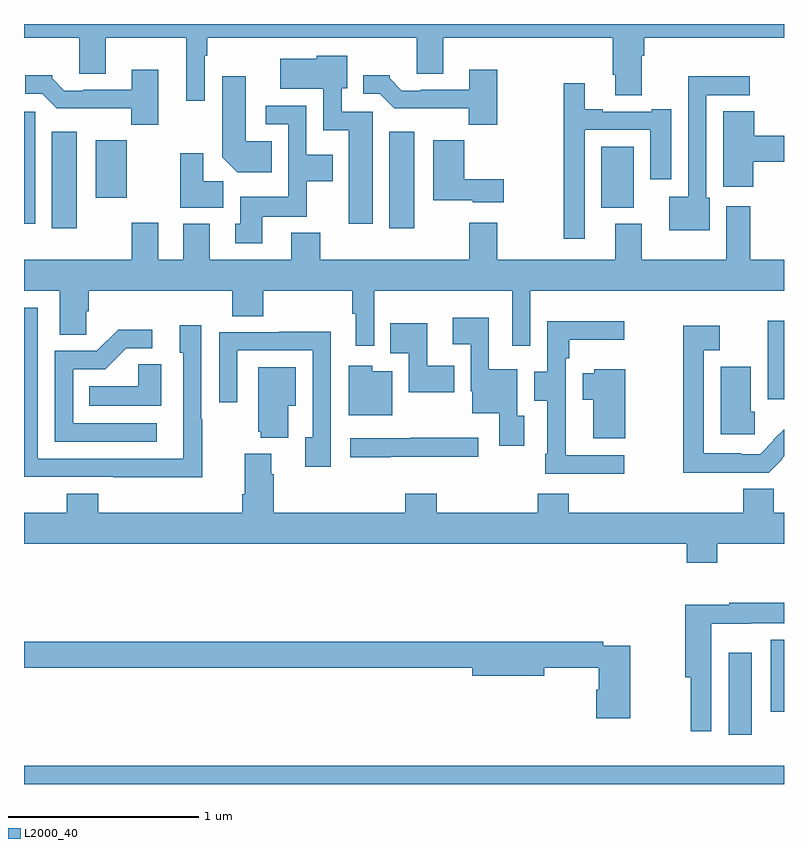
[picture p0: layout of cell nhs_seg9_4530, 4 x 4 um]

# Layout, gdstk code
import gdstk
lib = gdstk.Library(unit=1e-6, precision=1e-09)
def R(c, l, rs):  # rectangles x0, y0, x1, y1
    for r in rs: c.add(gdstk.rectangle(r[:2], r[2:], *l))
def P(c, l, *ps):  # polygons
    for p in ps: c.add(gdstk.Polygon(p, *l))
L2000_40 = (2000, 40)

nhs_seg9_4530 = lib.new_cell('nhs_seg9_4530')
R(nhs_seg9_4530, L2000_40, [(371,1184.5,375,1184.596), (374.708,1184.76,374.83,1185.19), (374.93,1184.88,375,1185.26), (374.915,1186.524,375,1186.939), (371.147,1187.424,371.278,1187.932), (372.923,1187.424,373.054,1187.932), (371,1187.448,371.059,1188.039), (374.039,1187.534,374.209,1187.854)])
P(nhs_seg9_4530, L2000_40, [(371.952,1188.332),(371.965,1188.332),(371.965,1188.428),(373.067,1188.428),(373.067,1188.238),(373.207,1188.238),(373.207,1188.428),(374.099,1188.428),(374.099,1188.232),(374.111,1188.232),(374.111,1188.124),(374.251,1188.124),(374.251,1188.332),(374.264,1188.332),(374.264,1188.428),(375,1188.428),(375,1188.5),(371,1188.5),(371,1188.428),(371.291,1188.428),(371.291,1188.238),(371.431,1188.238),(371.431,1188.428),(371.855,1188.428),(371.855,1188.096),(371.952,1188.096)],
  [(372.835,1188.039),(372.672,1188.039),(372.672,1188.162),(372.7,1188.162),(372.7,1188.334),(372.54,1188.334),(372.54,1188.316),(372.348,1188.316),(372.348,1188.158),(372.576,1188.158),(372.576,1187.942),(372.71,1187.942),(372.71,1187.448),(372.835,1187.448)],
  [(371.707,1188.259),(371.567,1188.259),(371.567,1188.153),(371.311,1188.153),(371.311,1188.15),(371.212,1188.15),(371.148,1188.214),(371.148,1188.229),(371.006,1188.229),(371.006,1188.132),(371.097,1188.132),(371.173,1188.056),(371.565,1188.056),(371.565,1187.969),(371.707,1187.969)],
  [(373.491,1188.259),(373.343,1188.259),(373.343,1188.153),(373.087,1188.153),(373.087,1188.15),(372.988,1188.15),(372.924,1188.214),(372.924,1188.229),(372.785,1188.229),(372.785,1188.132),(372.873,1188.132),(372.949,1188.056),(373.341,1188.056),(373.341,1187.969),(373.491,1187.969)],
  [(372.305,1187.884),(372.166,1187.884),(372.166,1188.226),(372.044,1188.226),(372.044,1187.798),(372.122,1187.72),(372.305,1187.72)],
  [(374.608,1187.586),(374.592,1187.586),(374.592,1188.126),(374.821,1188.126),(374.821,1188.224),(374.496,1188.224),(374.496,1187.59),(374.396,1187.59),(374.396,1187.414),(374.608,1187.414)],
  [(373.95,1187.943),(374.297,1187.943),(374.297,1187.682),(374.407,1187.682),(374.407,1188.052),(374.303,1188.052),(374.303,1188.039),(374.047,1188.039),(374.047,1188.052),(373.951,1188.052),(373.951,1188.187),(373.842,1188.187),(373.842,1187.37),(373.95,1187.37)],
  [(372.253,1187.486),(372.489,1187.486),(372.489,1187.672),(372.625,1187.672),(372.625,1187.812),(372.486,1187.812),(372.486,1188.069),(372.273,1188.069),(372.273,1187.973),(372.39,1187.973),(372.39,1187.59),(372.137,1187.59),(372.137,1187.448),(372.113,1187.448),(372.113,1187.346),(372.253,1187.346)],
  [(374.838,1187.776),(375,1187.776),(375,1187.912),(374.843,1187.912),(374.843,1188.041),(374.681,1188.041),(374.681,1187.643),(374.838,1187.643)],
  [(373.525,1187.683),(373.316,1187.683),(373.316,1187.887),(373.154,1187.887),(373.154,1187.573),(373.362,1187.573),(373.362,1187.561),(373.525,1187.561)],
  [(371.542,1187.739),(371.54,1187.739),(371.54,1187.887),(371.378,1187.887),(371.378,1187.586),(371.542,1187.586)],
  [(372.049,1187.672),(371.944,1187.672),(371.944,1187.821),(371.822,1187.821),(371.822,1187.534),(372.049,1187.534)],
  [(372.843,1187.096),(373.569,1187.096),(373.569,1186.806),(373.665,1186.806),(373.665,1187.096),(375,1187.096),(375,1187.26),(374.822,1187.26),(374.822,1187.542),(374.696,1187.542),(374.696,1187.26),(374.251,1187.26),(374.251,1187.449),(374.111,1187.449),(374.111,1187.26),(373.491,1187.26),(373.491,1187.455),(373.343,1187.455),(373.343,1187.26),(372.56,1187.26),(372.56,1187.401),(372.407,1187.401),(372.407,1187.26),(371.977,1187.26),(371.977,1187.449),(371.837,1187.449),(371.837,1187.26),(371.707,1187.26),(371.707,1187.455),(371.567,1187.455),(371.567,1187.26),(371,1187.26),(371,1187.096),(371.189,1187.096),(371.189,1186.864),(371.328,1186.864),(371.328,1186.987),(371.342,1186.987),(371.342,1187.096),(372.095,1187.096),(372.095,1186.963),(372.26,1186.963),(372.26,1187.096),(372.727,1187.096),(372.727,1186.975),(372.746,1186.975),(372.746,1186.806),(372.843,1186.806)],
  [(371.937,1186.421),(371.934,1186.421),(371.934,1186.915),(371.819,1186.915),(371.819,1186.77),(371.838,1186.77),(371.838,1186.212),(371.073,1186.212),(371.073,1187.007),(371,1187.007),(371,1186.116),(371.473,1186.116),(371.473,1186.115),(371.937,1186.115)],
  [(373.633,1186.437),(373.597,1186.437),(373.597,1186.684),(373.446,1186.684),(373.446,1186.954),(373.257,1186.954),(373.257,1186.814),(373.35,1186.814),(373.35,1186.566),(373.358,1186.566),(373.358,1186.451),(373.5,1186.451),(373.5,1186.281),(373.633,1186.281)],
  [(374.158,1186.23),(373.852,1186.23),(373.852,1186.427),(373.851,1186.427),(373.851,1186.742),(373.871,1186.742),(373.871,1186.838),(374.158,1186.838),(374.158,1186.936),(373.755,1186.936),(373.755,1186.671),(373.685,1186.671),(373.685,1186.516),(373.755,1186.516),(373.755,1186.237),(373.743,1186.237),(373.743,1186.134),(374.158,1186.134)],
  [(373.265,1186.702),(373.123,1186.702),(373.123,1186.924),(372.928,1186.924),(372.928,1186.766),(373.026,1186.766),(373.026,1186.562),(373.265,1186.562)],
  [(374.991,1186.209),(374.987,1186.213),(375,1186.226),(375,1186.368),(374.943,1186.311),(374.946,1186.308),(374.874,1186.236),(374.774,1186.236),(374.774,1186.24),(374.577,1186.24),(374.577,1186.784),(374.662,1186.784),(374.662,1186.912),(374.469,1186.912),(374.469,1186.139),(374.921,1186.139)],
  [(371.698,1186.398),(371.259,1186.398),(371.259,1186.683),(371.428,1186.683),(371.539,1186.794),(371.674,1186.794),(371.674,1186.892),(371.495,1186.892),(371.382,1186.779),(371.163,1186.779),(371.163,1186.302),(371.698,1186.302)],
  [(372.615,1186.88),(372.343,1186.88),(372.343,1186.878),(372.027,1186.878),(372.027,1186.509),(372.123,1186.509),(372.123,1186.782),(372.519,1186.782),(372.519,1186.326),(372.479,1186.326),(372.479,1186.17),(372.615,1186.17)],
  [(371.722,1186.709),(371.601,1186.709),(371.601,1186.594),(371.344,1186.594),(371.344,1186.49),(371.722,1186.49)],
  [(372.937,1186.672),(372.832,1186.672),(372.832,1186.702),(372.71,1186.702),(372.71,1186.442),(372.937,1186.442)],
  [(374.847,1186.458),(374.824,1186.458),(374.824,1186.696),(374.666,1186.696),(374.666,1186.341),(374.847,1186.341)],
  [(372.391,1186.49),(372.43,1186.49),(372.43,1186.693),(372.233,1186.693),(372.233,1186.353),(372.245,1186.353),(372.245,1186.322),(372.391,1186.322)],
  [(374.164,1186.684),(374.001,1186.684),(374.001,1186.663),(373.94,1186.663),(373.94,1186.523),(373.997,1186.523),(373.997,1186.319),(374.164,1186.319)],
  [(372.929,1186.223),(373.39,1186.223),(373.39,1186.323),(373.033,1186.323),(373.033,1186.32),(372.717,1186.32),(372.717,1186.219),(372.929,1186.219)],
  [(374.649,1185.764),(375,1185.764),(375,1185.928),(374.947,1185.928),(374.947,1186.054),(374.786,1186.054),(374.786,1185.928),(373.868,1185.928),(373.868,1186.027),(373.703,1186.027),(373.703,1185.928),(373.172,1185.928),(373.172,1186.027),(373.007,1186.027),(373.007,1185.928),(372.314,1185.928),(372.314,1186.13),(372.301,1186.13),(372.301,1186.237),(372.161,1186.237),(372.161,1186.024),(372.149,1186.024),(372.149,1185.928),(371.39,1185.928),(371.39,1186.027),(371.225,1186.027),(371.225,1185.928),(371,1185.928),(371,1185.764),(374.489,1185.764),(374.489,1185.665),(374.649,1185.665)],
  [(374.616,1185.344),(374.826,1185.344),(374.826,1185.345),(375,1185.345),(375,1185.454),(374.713,1185.454),(374.713,1185.444),(374.479,1185.444),(374.479,1185.062),(374.508,1185.062),(374.508,1184.778),(374.616,1184.778)],
  [(374.19,1185.228),(374.048,1185.228),(374.048,1185.248),(371,1185.248),(371,1185.112),(373.358,1185.112),(373.358,1185.07),(373.738,1185.07),(373.738,1185.112),(374.024,1185.112),(374.024,1184.997),(374.012,1184.997),(374.012,1184.847),(374.19,1184.847)])

lib.write_gds('nhs_seg9_4530.gds')
